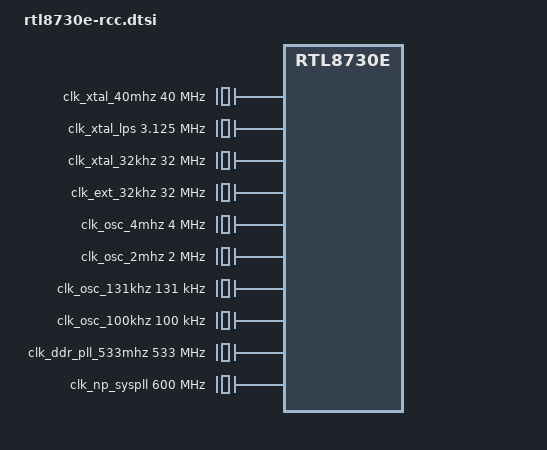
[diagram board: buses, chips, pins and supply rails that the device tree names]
// SPDX-License-Identifier: GPL-2.0-only
/*
* Realtek DTS for RCC
*
* Copyright (C) 2023, Realtek Corporation. All rights reserved.
*/

#include <dt-bindings/realtek/clock/realtek-ameba-clock.h>

/ {
	clocks {	/* Fixed rate clocks */
		clk_xtal_40mhz: crystal_40mhz {
			#clock-cells = <0>;
			compatible = "fixed-clock";
			clock-frequency = <40000000>;
			clock-output-names = "XTAL_40M";
		};
		
		clk_xtal_lps: crystal_lps {
			#clock-cells = <0>;
			compatible = "fixed-clock";
			clock-frequency = <3125000>;
			clock-output-names = "XTAL_LPS";
		};
		
		clk_xtal_32khz: crystal_32khz {
			#clock-cells = <0>;
			compatible = "fixed-clock";
			clock-frequency = <32000000>;
			clock-output-names = "XTAL_32K";
		};
		
		clk_ext_32khz: ext_32khz {
			#clock-cells = <0>;
			compatible = "fixed-clock";
			clock-frequency = <32000000>;
			clock-output-names = "EXT_32K";
		};
		
		clk_osc_4mhz: oscillator_4mhz {
			#clock-cells = <0>;
			compatible = "fixed-clock";
			clock-frequency = <4000000>;
			clock-output-names = "OSC_4M";
		};
		
		clk_osc_2mhz: oscillator_2mhz {
			#clock-cells = <0>;
			compatible = "fixed-clock";
			clock-frequency = <2000000>;
			clock-output-names = "OSC_2M";
		};

		clk_osc_131khz: oscillator_131khz {
			#clock-cells = <0>;
			compatible = "fixed-clock";
			clock-frequency = <131000>;
			clock-output-names = "OSC_131K";
		};
		
		clk_osc_100khz: oscillator_100khz {
			#clock-cells = <0>;
			compatible = "fixed-clock";
			clock-frequency = <100000>;
			clock-output-names = "OSC_100K";
		};

		clk_ddr_pll_533mhz: ddr_pll_533mhz {
			#clock-cells = <0>;
			compatible = "fixed-clock";
			clock-frequency = <533000000>;
			clock-output-names = "DDR_PLL_533M";
		};
		
		clk_np_syspll: np_syspll_600mhz {
			#clock-cells = <0>;
			compatible = "fixed-clock";
			clock-frequency = <600000000>;
			clock-output-names = "NP_SYSPLL";
		};
		
		clk_i2s_pll0: i2s_pll0 {	/* 98.304MHz */
			#clock-cells = <0>;
			compatible = "fixed-clock";
			clock-frequency = <98304000>;
			clock-output-names = "I2S_PLL0";
		};
		
		clk_i2s_pll1: i2s_pll1 {	/* 45.1584MHz */
			#clock-cells = <0>;
			compatible = "fixed-clock";
			clock-frequency = <45158400>;
			clock-output-names = "I2S_PLL1";
		};
		
		clk_i2s_pll2: i2s_pll2 {	/* 24.576MHz */
			#clock-cells = <0>;
			compatible = "fixed-clock";
			clock-frequency = <24576000>;
			clock-output-names = "I2S_PLL2";
		};
	};
	
	ocp {
		rcc: rcc@41000000 {
			compatible = "realtek,ameba-rcc";
			#reset-cells = <1>;
			#clock-cells = <1>;
			reg = <0x42008000 0x200>,
				<0x42008200 0x200>,
				<0x41000200 0x200>,
				<0x41000000 0x200>;
		};
	};
};

